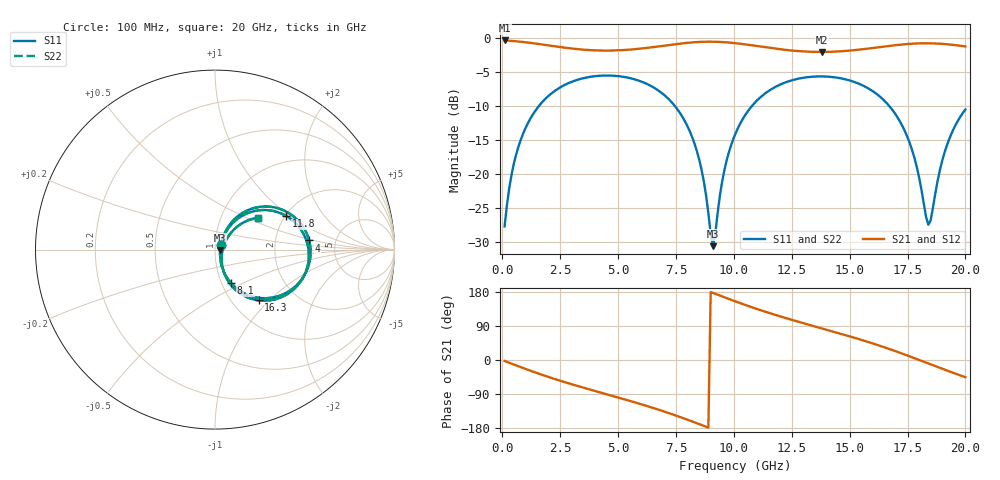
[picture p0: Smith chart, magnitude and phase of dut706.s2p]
! Touchstone file exported from HFSS 2026.1.0
!  File:  C:/ffzhzh/LocalFiles/Ansys_Project_Files/temp_train_TSV_RDL_706_1783199670_51560.aedt
!  Generated:  05:27:02 AM Jul  5, 2026
!  Design:  TSV_RDL
!  Project:  temp_train_TSV_RDL_706_1783199670_51560
! Variables:
!  h_bsmrdl = 2.26um
!  h_ox = 20um
!  h_rdl = 5um
!  h_sub = 65.72um
!  h_tmrdl = 4.41um
!  h_tsv = 65.72um
!  h_via = 3um
!  l_bsmrdl = 890.5um
!  l_sub = 7027.92um
!  l_tmrdl = 953.57um
!  m_sub = 200um
!  pitch = 51.47um
!  r_tsv = 10.14um
!  s_tmrdl = 10um
!  w_bsmrdl = 19.28um
!  w_sub = 500um
!  w_tmrdl = 28.1um
!  x_tsv_center1 = 967.62um
!  x_tsv_center2 = 1877.4um
!  x_tsv_center3 = 2859.07um
!  x_tsv_center4 = 3768.85um
!  x_tsv_center5 = 4750.52um
!  x_tsv_center6 = 5660.3um
# GHz S MA R 50.000000
! Terminal data exported
! Port[1] = TM_RDL1_1_T1
! Port[2] = TM_RDL5_1_T1
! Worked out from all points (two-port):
!   200 points, 100 MHz to 20 GHz, reference 50 ohm
!   highest |S21| = -0.29 dB at 100 MHz (marker M1); lowest = -2.0 dB at 13.8 GHz (marker M2)
!   |S21| within 3 dB of the highest: start of sweep to end of sweep
!   lowest |S11| = -30.7 dB at 9.1 GHz (marker M3), VSWR 1.06, Z = 53 - j0.25 ohm
!   |S11| at or under -10 dB: start of sweep to 1.575 GHz; 7.459 GHz to 10.77 GHz (3.314 GHz wide, 36.4 % of centre); 16.72 GHz to end of sweep
!   |S22| runs from -30.9 to -5.5 dB; largest |S21 - S12| = 3.7e-14
!   S11 on the Smith chart (normalised r, x): 100 MHz: 1.07, +0.05; 4 GHz: 3.16, +0.44; 8.1 GHz: 1.11, -0.43; 11.8 GHz: 2.03, +0.94; 16.3 GHz: 1.32, -0.87; 20 GHz: 1.50, +0.58
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0.1  0.04103 34.1  0.9667 -2.5  0.9667 -2.5  0.04103 34.1
! Gamma 0 0 0 0
! Port Impedance 50 0 50 0
0.5  0.1193 59.8  0.9565 -12.1  0.9565 -12.1  0.1193 59.8
1.1  0.2359 54.8  0.9333 -25.7  0.9333 -25.7  0.2359 54.8
2.2  0.4024 36.0  0.8783 -48.9  0.8783 -48.9  0.4025 35.9
3.5  0.509 13.7  0.8269 -73.0  0.8269 -73.0  0.5091 13.7
4  0.5268 5.5  0.8171 -81.7  0.8171 -81.7  0.5268 5.5
5.3  0.5188 -15.6  0.8224 -104.2  0.8224 -104.2  0.5189 -15.7
6.8  0.4061 -41.5  0.8763 -132.1  0.8763 -132.1  0.4062 -41.6
8.1  0.206 -64.3  0.9322 -159.9  0.9322 -159.9  0.206 -64.5
8.6  0.1087 -68.0  0.9441 -171.4  0.9441 -171.4  0.1086 -68.4
9.1  0.02931 -4.6  0.9464 176.9  0.9464 176.9  0.02867 -4.9
9.6  0.1084 58.0  0.9385 165.3  0.9385 165.3  0.1081 58.3
10.1  0.204 54.4  0.9218 153.9  0.9218 153.9  0.2038 54.6
11.8  0.4396 25.1  0.8407 118.9  0.8407 118.9  0.4395 25.2
13.4  0.5223 -1.3  0.7969 90.3  0.7969 90.3  0.5222 -1.3
13.8  0.5247 -7.7  0.7954 83.5  0.7954 83.5  0.5247 -7.7
16.3  0.3733 -49.3  0.8633 37.6  0.8633 37.6  0.3733 -49.3
16.7  0.319 -56.1  0.8808 29.3  0.8808 29.3  0.319 -56.1
17.7  0.1498 -68.6  0.915 7.2  0.915 7.2  0.1498 -68.7
18.4  0.04222 -14.9  0.9215 -9.1  0.9215 -9.1  0.04222 -15.0
19.1  0.144 46.7  0.9095 -25.4  0.9095 -25.4  0.144 46.7
20  0.2992 36.4  0.8737 -45.4  0.8737 -45.4  0.2992 36.4
